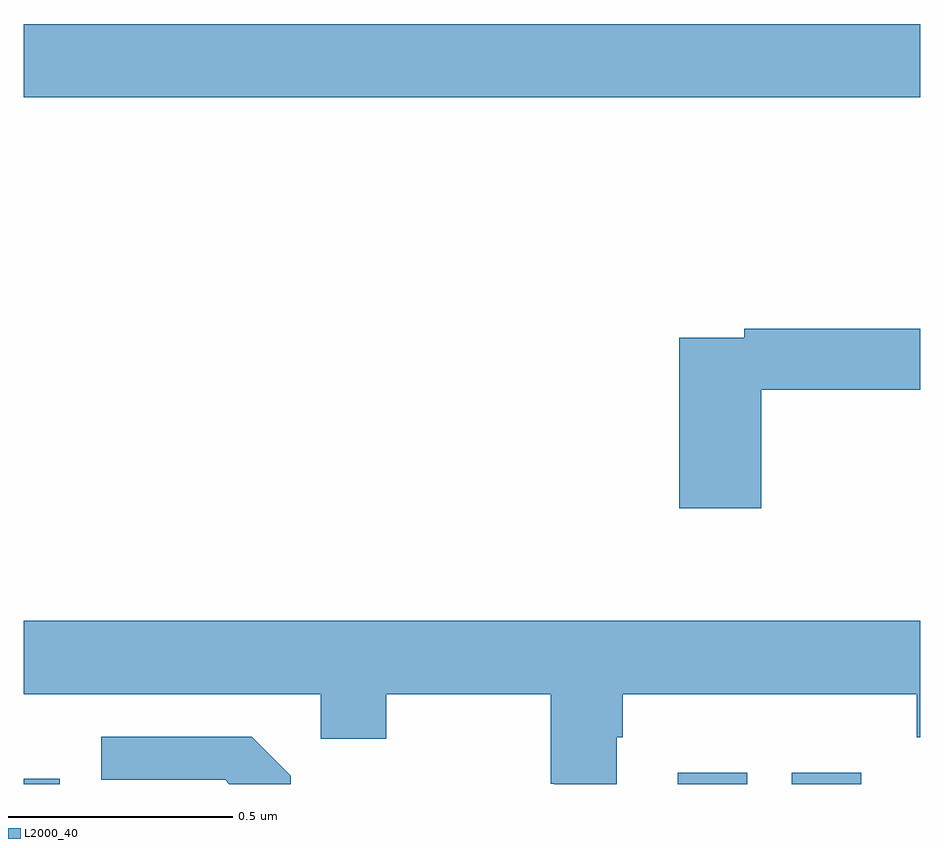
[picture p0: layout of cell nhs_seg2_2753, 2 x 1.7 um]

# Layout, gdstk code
import gdstk
lib = gdstk.Library(unit=1e-6, precision=1e-09)
def R(c, l, rs):  # rectangles x0, y0, x1, y1
    for r in rs: c.add(gdstk.rectangle(r[:2], r[2:], *l))
def P(c, l, *ps):  # polygons
    for p in ps: c.add(gdstk.Polygon(p, *l))
L2000_40 = (2000, 40)

nhs_seg2_2753 = lib.new_cell('nhs_seg2_2753')
R(nhs_seg2_2753, L2000_40, [(145,616.8,145.08,616.812), (146.459,616.8,146.614,616.825), (146.714,616.8,146.869,616.825), (145,618.332,147,618.496)])
P(nhs_seg2_2753, L2000_40, [(146.645,617.68),(147,617.68),(147,617.816),(146.608,617.816),(146.608,617.796),(146.462,617.796),(146.462,617.415),(146.645,617.415)],
  [(146.323,616.904),(146.336,616.904),(146.336,617),(146.993,617),(146.993,616.904),(147,616.904),(147,617.164),(145,617.164),(145,617),(145.662,617),(145.662,616.901),(145.809,616.901),(145.809,617),(146.176,617),(146.176,616.801),(146.183,616.801),(146.183,616.8),(146.323,616.8)],
  [(145.596,616.818),(145.509,616.905),(145.173,616.905),(145.173,616.809),(145.449,616.809),(145.458,616.8),(145.596,616.8)])

lib.write_gds('nhs_seg2_2753.gds')
